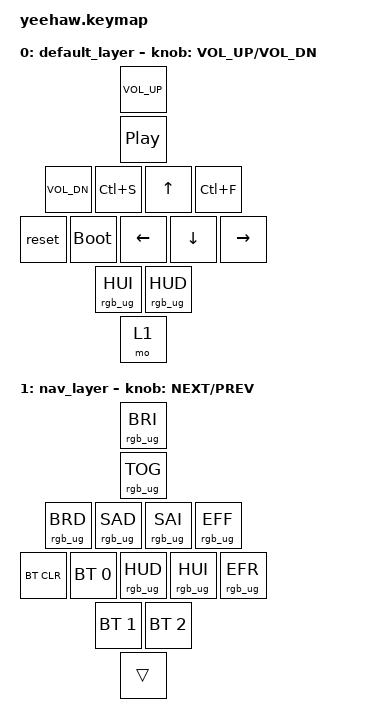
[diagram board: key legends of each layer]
#include <behaviors.dtsi>
#include <dt-bindings/zmk/bt.h>
#include <dt-bindings/zmk/keys.h>
#include <dt-bindings/zmk/outputs.h>
#include <dt-bindings/zmk/ext_power.h>
#include <dt-bindings/zmk/rgb.h>

/ {
    keymap {
        compatible = "zmk,keymap";
        
        default_layer {

            bindings = <
        &kp C_VOL_UP
        &kp C_PP
        &kp C_VOL_DN &kp LC(S) &kp UP &kp LC(F)
    &reset &bootloader &kp LEFT &kp DOWN &kp RIGHT 
            &rgb_ug RGB_HUI &rgb_ug RGB_HUD
                &mo 1
            >;

            sensor-bindings = <&inc_dec_kp C_VOL_UP C_VOL_DN>;
        };

         nav_layer {

             bindings = <
        &rgb_ug RGB_BRI
        &rgb_ug RGB_TOG
        &rgb_ug RGB_BRD &rgb_ug RGB_SAD &rgb_ug RGB_SAI &rgb_ug RGB_EFF
    &bt BT_CLR &bt BT_SEL 0 &rgb_ug RGB_HUD &rgb_ug RGB_HUI &rgb_ug RGB_EFR 
            &bt BT_SEL 1 &bt BT_SEL 2
                &trans
             >;

             sensor-bindings = <&inc_dec_kp C_NEXT C_PREV>;
         };
    };
};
